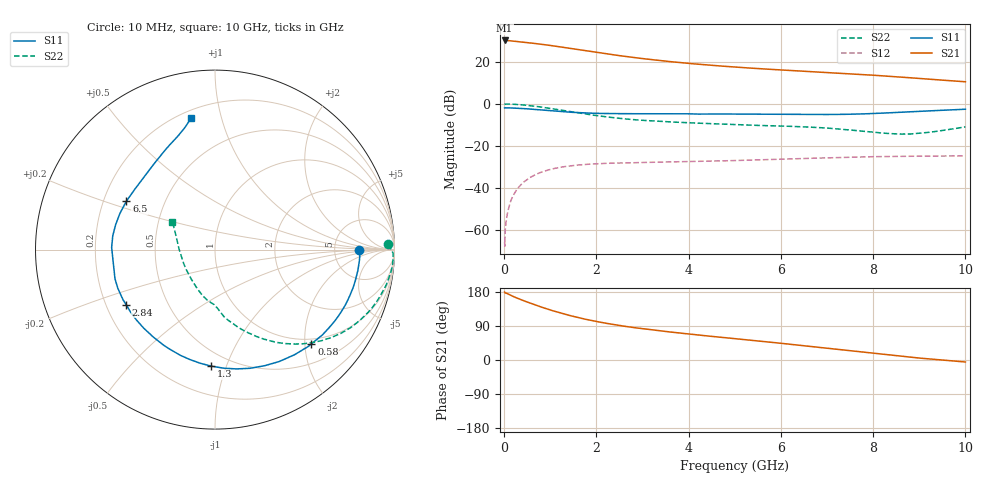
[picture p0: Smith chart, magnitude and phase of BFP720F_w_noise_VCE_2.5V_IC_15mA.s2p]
! Infineon Technologies  Discrete & RF Semiconductors
! BFP720F
! VCE =  2.5 V,  IC =  15 mA
! Common Emitter S-Parameters:  Jan 2016
# GHz  S  MA  R  50
!  f  S11  S21  S12  S22
! GHz  MAG  ANG  MAG  ANG  MAG  ANG  MAG  ANG
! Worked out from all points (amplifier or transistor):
!   233 points, 10 MHz to 10 GHz, reference 50 ohm
!   highest |S21| = 30.3 dB at 10 MHz (marker M1)
!   |S21| within 3 dB of that: start of sweep to 1.196 GHz
!   unconditionally stable (mu >= 1): start of sweep to 14.78 MHz; 6.128 GHz to end of sweep
!   at 200 MHz: K = 0.08, MSG = 36.8 dB, |S12| = -43.6 dB
!   at 1.74 GHz: K = 0.38, MSG = 27.2 dB, |S12| = -28.9 dB
!   at 10 GHz: K = 1.23, MAG = 14.8 dB, |S12| = -24.8 dB
!   lowest NFmin = 0.69 dB at 450 MHz
!   S11 on the Smith chart (normalised r, x): 10 MHz: 9.16, -0.07; 580 MHz: 0.89, -2.14; 1.3 GHz: 0.39, -0.89; 2.84 GHz: 0.28, -0.26; 6.5 GHz: 0.30, +0.23; 10 GHz: 0.24, +0.81
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0.01  0.8031 -0.1  32.82 179.2  0.0005 -17.2  0.9651 1.7
0.02  0.8079 -1.4  32.62 177.0  0.0008 99.4  0.9922 -1.1
0.05  0.8074 -3.8  32.75 176.3  0.0018 88.3  0.9936 -2.0
0.1  0.805 -7.9  32.5 173.2  0.0033 85.1  0.9932 -4.5
0.24  0.7939 -18.7  31.26 165.3  0.0079 80.0  0.9763 -11.0
0.4  0.7767 -31.0  29.95 157.5  0.0129 73.8  0.9454 -18.0
0.58  0.7515 -44.4  28.52 149.4  0.0179 66.9  0.9024 -25.4
0.8  0.7189 -60.2  26.76 139.9  0.0233 59.3  0.8422 -33.7
0.9  0.7034 -66.9  25.85 135.9  0.0254 56.2  0.8122 -37.1
1.1  0.6755 -79.8  24.06 128.3  0.0289 50.4  0.7512 -43.6
1.3  0.6494 -91.9  22.35 121.3  0.0317 45.3  0.6922 -49.5
1.68  0.6133 -111.8  19.32 109.8  0.0353 37.6  0.5931 -58.9
1.92  0.5991 -122.2  17.6 103.5  0.0368 33.8  0.5417 -63.9
2.2  0.591 -132.2  15.86 97.1  0.038 30.3  0.4931 -68.9
2.84  0.5824 -148.3  12.71 85.1  0.0394 25.3  0.4176 -77.0
3.4  0.5822 -156.9  10.81 76.8  0.0406 22.8  0.3823 -81.6
4  0.5806 -163.7  9.287 68.5  0.0418 21.2  0.3541 -84.6
5.1  0.5734 171.0  7.472 55.2  0.0447 19.7  0.3184 -88.9
6.5  0.5626 151.4  6.038 37.7  0.0497 17.1  0.2841 -98.9
6.8  0.5591 146.3  5.775 33.9  0.0508 16.2  0.2724 -102.6
8.4  0.6181 117.0  4.539 12.8  0.0558 10.3  0.1948 -146.0
10  0.747 100.2  3.382 -5.3  0.0575 5.6  0.2831 146.8
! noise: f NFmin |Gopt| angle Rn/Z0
0.45  0.69  0.24  1  0.47
0.9  0.71  0.18  6  0.15
1.8  0.75  0.16  8  0.15
2.4  0.77  0.14  12  0.13
5.5  0.93  0.11  16  0.08
10  1.1  0.32  -85  0.21
